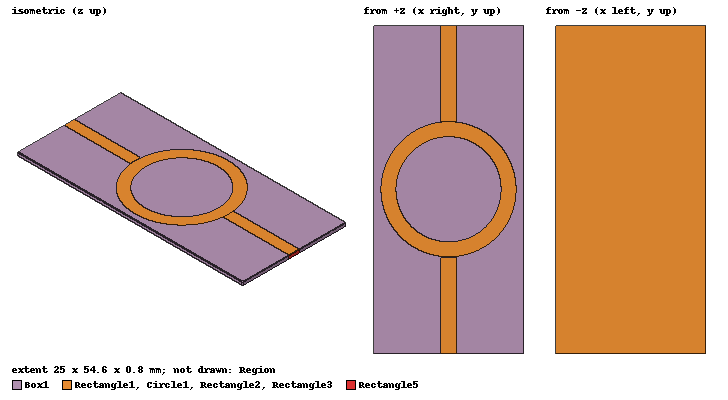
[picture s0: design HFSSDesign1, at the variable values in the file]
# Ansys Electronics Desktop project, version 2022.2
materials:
  vacuum: permittivity=1
  Rogers RT/duroid 5880 (tm): permittivity=2.2 dielectric_loss_tangent=0.0009

design HFSSDesign1 (HFSS, DrivenModal, model units mm)
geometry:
  Rectangle1 = rectangle(corner=(0mm, 0mm, 0mm), x_size=25mm, y_size=54.6mm)
  Box1 [Rogers RT/duroid 5880 (tm)] = box(corner=(0mm, 0mm, 0mm), size=(25mm, 54.6mm, 0.8mm))
  Rectangle2 = rectangle(corner=(11.25mm, 0mm, 0.8mm), x_size=2.5mm, y_size=16mm)
  Rectangle3 = rectangle(corner=(11.25mm, 38.6mm, 0.8mm), x_size=2.5mm, y_size=16mm)
  Circle1 = circle(normal=Z, centre=(12.5mm, 27.35mm, 0.8mm), radius=11.25mm)
  Circle2 = circle(normal=Z, centre=(12.5mm, 27.35mm, 0.8mm), radius=8.75mm)
  Circle1.subtract(Circle2)
  Rectangle4 = rectangle(corner=(11.25mm, 0mm, 0.8mm), z_size=-0.8mm, x_size=2.5mm)
  Rectangle5 = rectangle(corner=(13.75mm, 54.6mm, 0.8mm), z_size=-0.8mm, x_size=-2.5mm)
  Region [vacuum] = region(absolute_offset=50mm on all sides)
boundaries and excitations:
  PerfE1: Perfect E Objects=[Rectangle2, Circle1, Rectangle3]
  PerfE2: Perfect E Objects=Rectangle1
  Rad1: Radiation Objects=Region
  1: Lumped Port Objects=Rectangle4 Modes{Mode1{IntLine{(12.5, 0, 0) -> (12.5, 0, 0.8)} CharImp=Zpi RenormImp=50ohm}} Impedance=50ohm
  2: Lumped Port Objects=Rectangle5 Modes{Mode1{IntLine{(12.5, 54.6, 0) -> (12.5, 54.6, 0.8)} CharImp=Zpi RenormImp=50ohm}} Impedance=50ohm
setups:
  Setup1: HfssDriven Frequency=3.5GHz MaxDeltaS=0.02 MaximumPasses=6 MinimumPasses=1 MinimumConvergedPasses=1 PercentRefinement=30 BasisOrder=1 PortAccuracy=2 DrivenSolverType="Direct Solver"
    sweep Sweep: 1.75GHz to 5.25GHz, 401 points; Type=Fast SaveFields
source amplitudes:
  1:1: 1W 0deg
  2:1: 0W 0deg
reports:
  S Parameter Plot 1: mag(S(1,1)) vs Freq on Setup1 : Sweep
